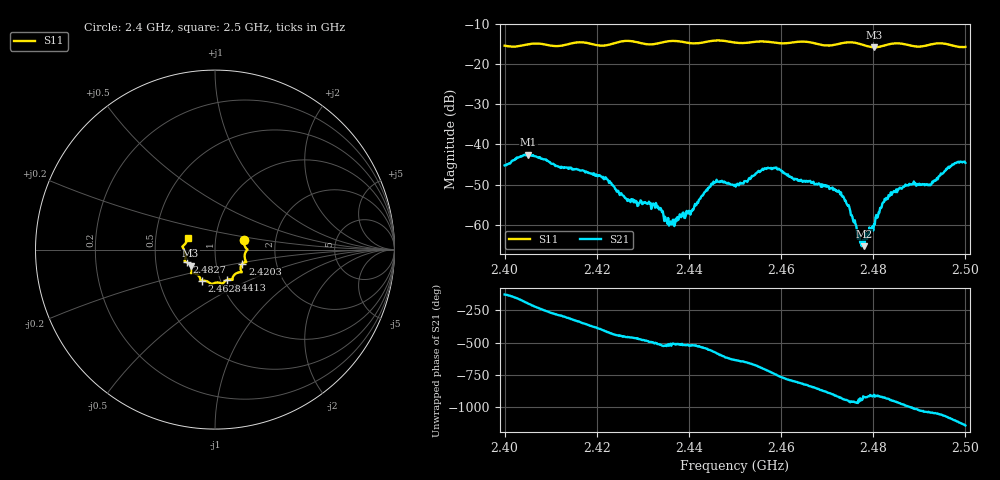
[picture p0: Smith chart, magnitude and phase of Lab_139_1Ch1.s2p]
# Hz S RI R 50
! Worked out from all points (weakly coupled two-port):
!   601 points, 2.4 GHz to 2.5 GHz, reference 50 ohm
!   highest |S21| = -42.52 dB at 2.4052 GHz (marker M1); lowest = -65.4 dB at 2.478 GHz (marker M2)
!   lowest |S11| = -15.8 dB at 2.4802 GHz (marker M3), VSWR 1.39, Z = 37.5 - j6.91 ohm
!   |S11| at or under -10 dB: start of sweep to end of sweep
!   S12 and S22 are empty: the file has one direction only
!   S11 on the Smith chart (normalised r, x): 2.4 GHz: 1.38, +0.15; 2.4203 GHz: 1.34, -0.22; 2.4413 GHz: 1.08, -0.38; 2.4628 GHz: 0.82, -0.29; 2.4827 GHz: 0.72, -0.10; 2.5 GHz: 0.73, +0.10
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2.4e9  0.1618 0.0529  -0.00327 -0.00441  0 0  0 0
2.405167e9  0.1776 0.00315  -0.00712 0.0023  0 0  0 0
2.416667e9  0.1744 -0.0693  0.00455 0.00133  0 0  0 0
2.420333e9  0.1525 -0.0795  0.00363 -0.00201  0 0  0 0
2.426833e9  0.149 -0.1262  -0.000285 -0.00205  0 0  0 0
2.433333e9  0.1 -0.1522  -0.00147 -0.000818  0 0  0 0
2.435833e9  0.0983 -0.1675  -0.000926 -0.000437  0 0  0 0
2.441333e9  0.0671 -0.1691  -0.00173 -0.00055  0 0  0 0
2.4455e9  0.0431 -0.192  -0.00281 0.00175  0 0  0 0
2.45e9  0.0244 -0.1845  0.000276 0.00314  0 0  0 0
2.457e9  -0.0242 -0.1893  0.00505 0.00036  0 0  0 0
2.462833e9  -0.0721 -0.1735  0.000661 -0.00357  0 0  0 0
2.466667e9  -0.0807 -0.1676  -0.00178 -0.00289  0 0  0 0
2.473e9  -0.1267 -0.1302  -0.00225 0.00116  0 0  0 0
2.477e9  -0.1307 -0.1234  -0.000431 0.000626  0 0  0 0
2.478e9  -0.1292 -0.1147  -0.000499 0.000206  0 0  0 0
2.480167e9  -0.1358 -0.0897  -0.00101 6.82e-05  0 0  0 0
2.482667e9  -0.1579 -0.0705  -0.00176 0.00101  0 0  0 0
2.483333e9  -0.1631 -0.0683  -0.00191 0.00135  0 0  0 0
2.488333e9  -0.1642 -0.0435  0.000845 0.00307  0 0  0 0
2.492167e9  -0.1746 0.00387  0.00243 0.00205  0 0  0 0
2.5e9  -0.1511 0.0646  0.00277 -0.0052  0 0  0 0
